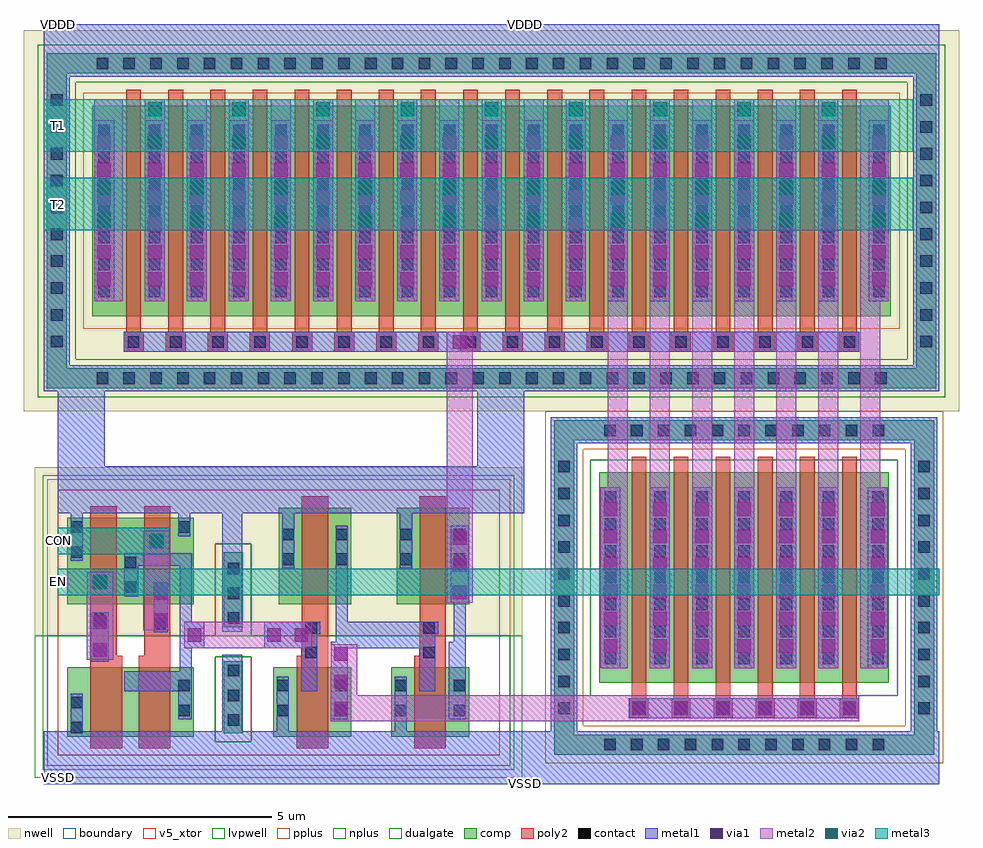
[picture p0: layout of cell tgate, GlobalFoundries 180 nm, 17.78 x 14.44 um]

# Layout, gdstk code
import gdstk
lib = gdstk.Library(unit=1e-6, precision=5e-09)
def R(c, l, rs):  # rectangles x0, y0, x1, y1
    for r in rs: c.add(gdstk.rectangle(r[:2], r[2:], *l))
def A(c, l, x, y, w, h, nx, ny, dx, dy):  # array of equal rectangles
    R(c, l, [(x+i*dx, y+j*dy, x+i*dx+w, y+j*dy+h) for i in range(nx) for j in range(ny)])
def P(c, l, *ps):  # polygons
    for p in ps: c.add(gdstk.Polygon(p, *l))
boundary = (0, 0)
nwell = (21, 0)
comp = (22, 0)
poly2 = (30, 0)
pplus = (31, 0)
nplus = (32, 0)
contact = (33, 0)
metal1 = (34, 0)
via1 = (35, 0)
metal2 = (36, 0)
via2 = (38, 0)
metal3 = (42, 0)
dualgate = (55, 0)
v5_xtor = (112, 1)
lvpwell = (204, 0)

gf180mcu_fd_sc_mcu9t5v0_ = lib.new_cell('gf180mcu_fd_sc_mcu9t5v0__filltie')
R(gf180mcu_fd_sc_mcu9t5v0_, boundary, [(0,0,1.12,5.04)])
R(gf180mcu_fd_sc_mcu9t5v0_, nwell, [(-0.43,2.265,1.55,5.47)])
R(gf180mcu_fd_sc_mcu9t5v0_, comp, [(0.36,0.41,0.72,1.785), (0.36,2.425,0.72,3.855)])
R(gf180mcu_fd_sc_mcu9t5v0_, pplus, [(0.2,0.25,0.88,1.865)])
P(gf180mcu_fd_sc_mcu9t5v0_, pplus, [(-0.2,2.265),(-0.2,5.24),(1.32,5.24),(1.32,2.265),(0.88,2.265),(0.88,4.015),(0.2,4.015),(0.2,2.265)])
P(gf180mcu_fd_sc_mcu9t5v0_, nplus, [(-0.2,-0.2),(-0.2,2.265),(0.2,2.265),(0.2,4.015),(0.88,4.015),(0.88,1.865),(0.2,1.865),(0.2,0.25),(0.88,0.25),(0.88,4.015),(0.88,2.265),(1.32,2.265),(1.32,-0.2)])
A(gf180mcu_fd_sc_mcu9t5v0_, contact, 0.43, 0.555, 0.22, 0.22, 1, 3, 0, 0.47)
A(gf180mcu_fd_sc_mcu9t5v0_, contact, 0.43, 2.495, 0.22, 0.22, 1, 3, 0, 0.47)
P(gf180mcu_fd_sc_mcu9t5v0_, metal1, [(0,-0.45),(0,0.45),(0.33,0.45),(0.33,1.91),(0.71,1.91),(0.71,0.45),(1.12,0.45),(1.12,-0.45)],
  [(0.33,2.34),(0.33,4.59),(0,4.59),(0,5.49),(1.12,5.49),(1.12,4.59),(0.71,4.59),(0.71,2.34)])
R(gf180mcu_fd_sc_mcu9t5v0_, dualgate, [(-0.28,-0.28,1.4,5.32)])
R(gf180mcu_fd_sc_mcu9t5v0_, v5_xtor, [(0,0,1.12,5.04)])
R(gf180mcu_fd_sc_mcu9t5v0_, lvpwell, [(-0.43,-0.43,1.55,2.265)])
gf180mcu_fd_sc_mcu9t5v0_.add(gdstk.Label('VSS', (0.56,-0.45), layer=34, texttype=10))
gf180mcu_fd_sc_mcu9t5v0_.add(gdstk.Label('VDD', (0.56,5.49), layer=34, texttype=10))
gf180mcu_fd_sc_mcu9t5v0_.add(gdstk.Label('& Vendor GLOBALFOUNDRIES', (0,2), layer=63, texttype=63))
gf180mcu_fd_sc_mcu9t5v0_.add(gdstk.Label('& Product GF018hv5v_green_sc9', (0,1.5), layer=63, texttype=63))
gf180mcu_fd_sc_mcu9t5v0_.add(gdstk.Label('& Version 2015q2v2', (0,1), layer=63, texttype=63))
gf180mcu_fd_sc_mcu9t5v0_.add(gdstk.Label('& Metric 1.00', (0,0.5), layer=63, texttype=63))

c_gf180mcu_fd_sc_mcu9t5v0_ = lib.new_cell('gf180mcu_fd_sc_mcu9t5v0__inv_1')
R(c_gf180mcu_fd_sc_mcu9t5v0_, boundary, [(0,0,2.24,5.04)])
R(c_gf180mcu_fd_sc_mcu9t5v0_, nwell, [(-0.43,2.265,2.67,5.47)])
R(c_gf180mcu_fd_sc_mcu9t5v0_, comp, [(0.18,0.345,1.66,1.665), (0.28,2.865,1.66,4.695)])
P(c_gf180mcu_fd_sc_mcu9t5v0_, poly2, [(0.62,0.125),(0.62,1.885),(0.72,1.885),(0.72,4.915),(1.22,4.915),(1.22,0.125)])
R(c_gf180mcu_fd_sc_mcu9t5v0_, pplus, [(-0.2,2.265,2.44,5.24)])
R(c_gf180mcu_fd_sc_mcu9t5v0_, nplus, [(-0.2,-0.2,2.44,2.265)])
R(c_gf180mcu_fd_sc_mcu9t5v0_, contact, [(0.25,0.74,0.47,0.96), (1.37,0.74,1.59,0.96), (0.25,1.21,0.47,1.43), (1.37,1.21,1.59,1.43), (0.79,1.835,1.01,2.055), (0.79,2.305,1.01,2.525), (0.35,3.61,0.57,3.83), (1.37,3.61,1.59,3.83), (0.35,4.08,0.57,4.3), (1.37,4.08,1.59,4.3)])
P(c_gf180mcu_fd_sc_mcu9t5v0_, metal1, [(0.71,1.21),(0.71,2.53),(1.07,2.53),(1.07,2.3),(1.015,2.3),(1.015,1.21)],
  [(1.27,0.68),(1.27,2.15),(1.365,2.15),(1.365,4.36),(1.595,4.36),(1.595,0.68)],
  [(0,-0.45),(0,0.45),(0.245,0.45),(0.245,1.49),(0.475,1.49),(0.475,0.45),(2.24,0.45),(2.24,-0.45)],
  [(0.345,3.55),(0.345,4.59),(0,4.59),(0,5.49),(2.24,5.49),(2.24,4.59),(0.575,4.59),(0.575,3.55)])
R(c_gf180mcu_fd_sc_mcu9t5v0_, dualgate, [(-0.28,-0.28,2.52,5.32)])
R(c_gf180mcu_fd_sc_mcu9t5v0_, v5_xtor, [(0,0,2.24,5.04)])
R(c_gf180mcu_fd_sc_mcu9t5v0_, lvpwell, [(-0.43,-0.43,2.67,2.265)])
c_gf180mcu_fd_sc_mcu9t5v0_.add(gdstk.Label('I', (0.84,1.96), layer=34, texttype=10))
c_gf180mcu_fd_sc_mcu9t5v0_.add(gdstk.Label('VDD', (1.12,5.49), layer=34, texttype=10))
c_gf180mcu_fd_sc_mcu9t5v0_.add(gdstk.Label('VSS', (1.12,-0.45), layer=34, texttype=10))
c_gf180mcu_fd_sc_mcu9t5v0_.add(gdstk.Label('ZN', (1.4,1.96), layer=34, texttype=10))
c_gf180mcu_fd_sc_mcu9t5v0_.add(gdstk.Label('& Vendor GLOBALFOUNDRIES', (0,2), layer=63, texttype=63))
c_gf180mcu_fd_sc_mcu9t5v0_.add(gdstk.Label('& Product GF018hv5v_green_sc9', (0,1.5), layer=63, texttype=63))
c_gf180mcu_fd_sc_mcu9t5v0_.add(gdstk.Label('& Version 2015q2v2', (0,1), layer=63, texttype=63))
c_gf180mcu_fd_sc_mcu9t5v0_.add(gdstk.Label('& Metric 1.00', (0,0.5), layer=63, texttype=63))
c_gf180mcu_fd_sc_mcu9t5v0_.add(gdstk.Label('VNW', (0.345,3.92), layer=21, texttype=10))
c_gf180mcu_fd_sc_mcu9t5v0_.add(gdstk.Label('VPW', (0.34,-0.085), layer=204, texttype=10))

c_gf180mcu_fd_sc_mcu9t5v0__ = lib.new_cell('gf180mcu_fd_sc_mcu9t5v0__nand2_1')
R(c_gf180mcu_fd_sc_mcu9t5v0__, boundary, [(0,0,2.8,5.04)])
R(c_gf180mcu_fd_sc_mcu9t5v0__, nwell, [(-0.43,2.265,3.23,5.47)])
R(c_gf180mcu_fd_sc_mcu9t5v0__, comp, [(0.185,0.345,2.585,1.665), (0.185,2.865,2.585,4.51)])
P(c_gf180mcu_fd_sc_mcu9t5v0__, poly2, [(0.625,0.125),(0.625,4.73),(1.125,4.73),(1.125,1.885),(1.225,1.885),(1.225,0.125)],
  [(1.545,0.125),(1.545,1.885),(1.645,1.885),(1.645,4.73),(2.145,4.73),(2.145,0.125)])
R(c_gf180mcu_fd_sc_mcu9t5v0__, pplus, [(-0.2,2.265,3,5.24)])
R(c_gf180mcu_fd_sc_mcu9t5v0__, nplus, [(-0.2,-0.2,3,2.265)])
R(c_gf180mcu_fd_sc_mcu9t5v0__, contact, [(0.255,0.415,0.475,0.635), (2.295,0.74,2.515,0.96), (0.255,0.885,0.475,1.105), (2.295,1.21,2.515,1.43), (1.835,2.39,2.055,2.61), (0.695,2.475,0.915,2.695), (1.275,3.08,1.495,3.3), (1.275,3.55,1.495,3.77), (0.255,3.75,0.475,3.97), (0.255,4.22,0.475,4.44), (2.295,4.22,2.515,4.44)])
R(c_gf180mcu_fd_sc_mcu9t5v0__, metal1, [(0.635,1.77,0.975,2.71), (1.83,2.33,2.09,3.27)])
P(c_gf180mcu_fd_sc_mcu9t5v0__, metal1, [(2.29,0.68),(2.29,1.21),(1.27,1.21),(1.27,1.59),(2.32,1.59),(2.32,3.6),(1.53,3.6),(1.53,3.02),(1.27,3.02),(1.27,3.83),(2.55,3.83),(2.55,0.68)],
  [(0,-0.45),(0,0.45),(0.25,0.45),(0.25,1.165),(0.48,1.165),(0.48,0.45),(2.8,0.45),(2.8,-0.45)],
  [(0.25,3.69),(0.25,4.59),(0,4.59),(0,5.49),(2.8,5.49),(2.8,4.59),(2.52,4.59),(2.52,4.16),(2.29,4.16),(2.29,4.59),(0.48,4.59),(0.48,3.69)])
R(c_gf180mcu_fd_sc_mcu9t5v0__, dualgate, [(-0.28,-0.28,3.08,5.32)])
R(c_gf180mcu_fd_sc_mcu9t5v0__, v5_xtor, [(0,0,2.8,5.04)])
R(c_gf180mcu_fd_sc_mcu9t5v0__, lvpwell, [(-0.43,-0.43,3.23,2.265)])
c_gf180mcu_fd_sc_mcu9t5v0__.add(gdstk.Label('A1', (1.96,2.52), layer=34, texttype=10))
c_gf180mcu_fd_sc_mcu9t5v0__.add(gdstk.Label('A2', (0.84,1.96), layer=34, texttype=10))
c_gf180mcu_fd_sc_mcu9t5v0__.add(gdstk.Label('VDD', (1.4,5.49), layer=34, texttype=10))
c_gf180mcu_fd_sc_mcu9t5v0__.add(gdstk.Label('VSS', (1.4,-0.45), layer=34, texttype=10))
c_gf180mcu_fd_sc_mcu9t5v0__.add(gdstk.Label('ZN', (1.96,1.4), layer=34, texttype=10))
c_gf180mcu_fd_sc_mcu9t5v0__.add(gdstk.Label('& Vendor GLOBALFOUNDRIES', (0,2), layer=63, texttype=63))
c_gf180mcu_fd_sc_mcu9t5v0__.add(gdstk.Label('& Product GF018hv5v_green_sc9', (0,1.5), layer=63, texttype=63))
c_gf180mcu_fd_sc_mcu9t5v0__.add(gdstk.Label('& Version 2015q2v2', (0,1), layer=63, texttype=63))
c_gf180mcu_fd_sc_mcu9t5v0__.add(gdstk.Label('& Metric 1.00', (0,0.5), layer=63, texttype=63))
c_gf180mcu_fd_sc_mcu9t5v0__.add(gdstk.Label('VNW', (0.345,3.92), layer=21, texttype=10))
c_gf180mcu_fd_sc_mcu9t5v0__.add(gdstk.Label('VPW', (0.34,-0.085), layer=204, texttype=10))

nfet = lib.new_cell('nfet')
R(nfet, comp, [(-0.42,0,0,4), (0,0,4.66,4), (4.66,0,5.08,4)])
P(nfet, comp, [(-1.28,-1.36),(-1.28,4.61),(-0.9,4.61),(-0.9,-0.98),(5.56,-0.98),(5.56,4.61),(-1.28,4.61),(-1.28,4.99),(5.94,4.99),(5.94,-1.36)])
A(nfet, poly2, 0.15, -0.66, 0.36, 0.36, 6, 1, 0.8, 0)
A(nfet, poly2, 0.19, -0.3, 0.28, 4.6, 6, 1, 0.8, 0)
P(nfet, pplus, [(-1.45,-1.53),(-1.45,4.44),(-0.73,4.44),(-0.73,-0.81),(5.39,-0.81),(5.39,4.44),(-1.45,4.44),(-1.45,5.16),(6.11,5.16),(6.11,-1.53)])
R(nfet, nplus, [(-0.59,-0.24,5.25,4.24)])
A(nfet, contact, -0.33, -1.28, 0.22, 0.22, 11, 2, 0.51, 5.97)
A(nfet, contact, -1.2, -0.59, 0.22, 0.22, 1, 10, 0, 0.51)
A(nfet, contact, 0.22, -0.59, 0.22, 0.22, 6, 1, 0.8, 0)
A(nfet, contact, 5.64, -0.59, 0.22, 0.22, 1, 10, 0, 0.51)
A(nfet, contact, -0.32, 0.36, 0.22, 0.22, 1, 7, 0, 0.51)
A(nfet, contact, 0.62, 0.36, 0.22, 0.22, 5, 7, 0.8, 0.51)
A(nfet, contact, 4.76, 0.36, 0.22, 0.22, 1, 7, 0, 0.51)
A(nfet, metal1, 0.14, -0.67, 0.38, 0.38, 6, 1, 0.8, 0)
A(nfet, metal1, 0.54, 0.28, 0.38, 3.44, 5, 1, 0.8, 0)
R(nfet, metal1, [(-0.4,0.28,-0.02,3.72), (4.68,0.28,5.06,3.72)])
nfet.add(gdstk.FlexPath([(0.14,-0.48),(4.52,-0.48)], 0.38, ends="flush", simple_path=True, layer=34, datatype=0))  # metal1
nfet.add(gdstk.FlexPath([(-1.34,4.8),(5.75,4.8),(5.75,-1.17),(-1.09,-1.17),(-1.09,4.55)], 0.5, ends="flush", simple_path=True, layer=34, datatype=0))  # metal1
nfet.add(gdstk.Label('G', (0.22,-0.59), layer=34, texttype=10))
nfet.add(gdstk.Label('B', (-1.09,-1.17), layer=34, texttype=10))
nfet.add(gdstk.Label('D', (0.62,0.36), layer=34, texttype=10))
nfet.add(gdstk.Label('S', (-0.32,0.36), layer=34, texttype=10))
nfet.add(gdstk.Label('S', (1.42,0.36), layer=34, texttype=10))
nfet.add(gdstk.Label('S', (4.76,0.36), layer=34, texttype=10))
nfet.add(gdstk.Label('S', (3.02,0.36), layer=34, texttype=10))
nfet.add(gdstk.Label('D', (2.22,0.36), layer=34, texttype=10))
nfet.add(gdstk.Label('D', (3.82,0.36), layer=34, texttype=10))

pfet = lib.new_cell('pfet')
R(pfet, nwell, [(-1.76,-1.81,16.02,5.43)])
R(pfet, comp, [(-0.46,0,0,4), (0,0,14.26,4), (14.26,0,14.72,4)])
P(pfet, comp, [(-1.32,-1.37),(-1.32,4.61),(-0.94,4.61),(-0.94,-0.99),(15.2,-0.99),(15.2,4.61),(-1.32,4.61),(-1.32,4.99),(15.58,4.99),(15.58,-1.37)])
A(pfet, poly2, 0.14, -0.68, 0.38, 0.38, 18, 1, 0.8, 0)
A(pfet, poly2, 0.19, -0.3, 0.28, 4.6, 18, 1, 0.8, 0)
R(pfet, pplus, [(-0.63,-0.24,14.89,4.24)])
A(pfet, contact, -0.375, -1.29, 0.22, 0.22, 30, 2, 0.51, 5.98)
A(pfet, contact, 0.22, -0.6, 0.22, 0.22, 18, 1, 0.8, 0)
A(pfet, contact, -1.24, -0.595, 0.22, 0.22, 1, 10, 0, 0.51)
A(pfet, contact, 15.28, -0.595, 0.22, 0.22, 1, 10, 0, 0.51)
A(pfet, contact, -0.34, 0.36, 0.22, 0.22, 1, 7, 0, 0.51)
A(pfet, contact, 0.62, 0.36, 0.22, 0.22, 17, 7, 0.8, 0.51)
A(pfet, contact, 14.38, 0.36, 0.22, 0.22, 1, 7, 0, 0.51)
A(pfet, metal1, 0.14, -0.68, 0.38, 0.38, 18, 1, 0.8, 0)
A(pfet, metal1, 0.54, 0.28, 0.38, 3.44, 17, 1, 0.8, 0)
R(pfet, metal1, [(-0.42,0.28,-0.04,3.72), (14.3,0.28,14.68,3.72)])
pfet.add(gdstk.FlexPath([(0.14,-0.49),(14.12,-0.49)], 0.38, ends="flush", simple_path=True, layer=34, datatype=0))  # metal1
pfet.add(gdstk.FlexPath([(-1.38,4.8),(15.39,4.8),(15.39,-1.18),(-1.13,-1.18),(-1.13,4.55)], 0.5, ends="flush", simple_path=True, layer=34, datatype=0))  # metal1
pfet.add(gdstk.FlexPath([(-1.49,4.8),(15.39,4.8),(15.39,-1.18),(-1.13,-1.18),(-1.13,4.44)], 0.72, ends="flush", simple_path=True, layer=32, datatype=0))  # nplus
pfet.add(gdstk.Label('G', (0.22,-0.6), layer=34, texttype=10))
pfet.add(gdstk.Label('S', (-0.34,0.36), layer=34, texttype=10))
pfet.add(gdstk.Label('S', (14.38,0.36), layer=34, texttype=10))
pfet.add(gdstk.Label('S', (12.62,0.36), layer=34, texttype=10))
pfet.add(gdstk.Label('S', (11.02,0.36), layer=34, texttype=10))
pfet.add(gdstk.Label('S', (9.42,0.36), layer=34, texttype=10))
pfet.add(gdstk.Label('S', (7.82,0.365), layer=34, texttype=10))
pfet.add(gdstk.Label('S', (6.22,0.365), layer=34, texttype=10))
pfet.add(gdstk.Label('S', (4.62,0.36), layer=34, texttype=10))
pfet.add(gdstk.Label('S', (3.02,0.36), layer=34, texttype=10))
pfet.add(gdstk.Label('S', (1.42,0.365), layer=34, texttype=10))
pfet.add(gdstk.Label('D', (10.22,0.355), layer=34, texttype=10))
pfet.add(gdstk.Label('D', (8.62,0.355), layer=34, texttype=10))
pfet.add(gdstk.Label('D', (7.02,0.36), layer=34, texttype=10))
pfet.add(gdstk.Label('D', (5.42,0.36), layer=34, texttype=10))
pfet.add(gdstk.Label('D', (3.82,0.355), layer=34, texttype=10))
pfet.add(gdstk.Label('D', (2.22,0.355), layer=34, texttype=10))
pfet.add(gdstk.Label('D', (0.62,0.36), layer=34, texttype=10))
pfet.add(gdstk.Label('D', (11.82,0.355), layer=34, texttype=10))
pfet.add(gdstk.Label('D', (13.42,0.36), layer=34, texttype=10))
pfet.add(gdstk.Label('B', (-1.13,-1.18), layer=34, texttype=10))

tgate = lib.new_cell('tgate')
A(tgate, via1, -0.6, -5.29, 0.26, 0.26, 1, 3, 0, 0.52)
A(tgate, via1, 5.06, -5.28, 0.26, 0.26, 6, 1, 0.8, 0)
A(tgate, via1, 4.52, -4.1, 0.26, 0.26, 1, 6, 0, 0.52)
A(tgate, via1, 5.46, -4.1, 0.26, 0.26, 5, 6, 0.8, 0.52)
A(tgate, via1, 9.6, -4.1, 0.26, 0.26, 1, 6, 0, 0.52)
A(tgate, via1, 1.655, -3.08, 0.26, 0.26, 1, 3, 0, 0.52)
A(tgate, via1, -5.1, 2.87, 0.26, 0.26, 1, 6, 0, 0.52)
A(tgate, via1, -4.14, 2.87, 0.26, 0.26, 17, 6, 0.8, 0.52)
A(tgate, via1, 9.62, 2.87, 0.26, 0.26, 1, 6, 0, 0.52)
R(tgate, via1, [(-5.18,-4.17,-4.92,-3.91), (-3.385,-3.89,-3.125,-3.63), (-1.87,-3.89,-1.61,-3.63), (-1.35,-3.89,-1.09,-3.63), (-5.18,-3.65,-4.92,-3.39), (-4.025,-3.61,-3.765,-3.35), (-4.025,-3.09,-3.765,-2.83), (1.655,1.68,1.915,1.94)])
A(tgate, via2, -3.34, 3.99, 0.26, 0.26, 8, 2, 1.6, 0.62)
R(tgate, via2, [(-5.18,-2.88,-4.92,-2.62), (-4.105,-2.1,-3.845,-1.84), (-5.1,3.99,-4.84,4.25), (9.62,3.99,9.88,4.25), (-5.1,4.61,-4.84,4.87), (9.62,4.61,9.88,4.87), (-4.135,5.48,-3.875,5.74), (-2.54,5.48,-2.28,5.74), (-0.94,5.48,-0.68,5.74), (0.665,5.48,0.925,5.74), (2.26,5.48,2.52,5.74), (3.86,5.48,4.12,5.74), (5.465,5.48,5.725,5.74), (7.06,5.48,7.32,5.74), (8.66,5.48,8.92,5.74), (-4.135,6.1,-3.875,6.36), (-2.54,6.1,-2.28,6.36), (-0.94,6.1,-0.68,6.36), (0.665,6.1,0.925,6.36), (2.26,6.1,2.52,6.36), (3.86,6.1,4.12,6.36), (5.465,6.1,5.725,6.36), (7.06,6.1,7.32,6.36), (8.66,6.1,8.92,6.36)])
tgate.add(gdstk.FlexPath([(1.785,-3.15),(1.785,-1.68)], 0.34, ends="flush", simple_path=True, layer=34, datatype=0))  # metal1
tgate.add(gdstk.FlexPath([(-6.12,7.1),(10.65,7.1),(10.65,1.12),(-5.87,1.12),(-5.87,6.85)], 0.5, ends="flush", simple_path=True, layer=34, datatype=0))  # metal1
tgate.add(gdstk.FlexPath([(3.52,0.13),(10.61,0.13),(10.61,-5.84),(3.77,-5.84),(3.77,-0.12)], 0.5, ends="flush", simple_path=True, layer=34, datatype=0))  # metal1
tgate.add(gdstk.FlexPath([(-4.6,1.81),(9.38,1.81)], 0.38, ends="flush", simple_path=True, layer=34, datatype=0))  # metal1
tgate.add(gdstk.FlexPath([(3.015,-6.09),(-6.12,-6.09)], 1, ends="flush", simple_path=True, layer=34, datatype=0))  # metal1
tgate.add(gdstk.FlexPath([(2.565,0.87),(2.565,-0.55)], 0.9, ends="flush", simple_path=True, layer=34, datatype=0))  # metal1
tgate.add(gdstk.FlexPath([(-5.405,0.87),(-5.405,-0.55)], 0.9, ends="flush", simple_path=True, layer=34, datatype=0))  # metal1
tgate.add(gdstk.FlexPath([(10.9,7.35),(-6.12,7.35)], 1, ends="flush", simple_path=True, layer=34, datatype=0))  # metal1
tgate.add(gdstk.FlexPath([(10.9,-6.09),(3.015,-6.09)], 1, ends="flush", simple_path=True, layer=34, datatype=0))  # metal1
tgate.add(gdstk.FlexPath([(3.015,-1),(-5.855,-1)], 0.9, ends="flush", simple_path=True, layer=34, datatype=0))  # metal1
tgate.add(gdstk.FlexPath([(-3.305,-3.76),(-3.065,-3.76)], 0.5, ends="flush", simple_path=True, layer=34, datatype=0))  # metal1
tgate.add(gdstk.FlexPath([(-0.34,-3.76),(1.015,-3.76)], 0.5, ends="flush", simple_path=True, layer=34, datatype=0))  # metal1
tgate.add(gdstk.FlexPath([(-1.93,-3.76),(-1.225,-3.76)], 0.5, ends="flush", simple_path=True, layer=34, datatype=0))  # metal1
tgate.add(gdstk.FlexPath([(5,-5.15),(9.38,-5.15)], 0.38, ends="flush", simple_path=True, layer=34, datatype=0))  # metal1
tgate.add(gdstk.FlexPath([(-6.23,7.1),(10.65,7.1),(10.65,1.12),(-5.87,1.12),(-5.87,6.74)], 0.72, ends="flush", simple_path=True, layer=32, datatype=0))  # nplus
tgate.add(gdstk.FlexPath([(-0.41,-4.9),(-0.41,-3.93)], 0.5, ends="flush", simple_path=True, layer=36, datatype=0))  # metal2
tgate.add(gdstk.FlexPath([(9.38,-5.15),(-0.66,-5.15)], 0.5, ends="flush", simple_path=True, layer=36, datatype=0))  # metal2
tgate.add(gdstk.FlexPath([(1.785,-3.15),(1.785,2)], 0.5, ends="flush", simple_path=True, layer=36, datatype=0))  # metal2
tgate.add(gdstk.FlexPath([(7.99,-4.39),(7.99,6.42)], 0.38, ends="flush", simple_path=True, layer=36, datatype=0))  # metal2
tgate.add(gdstk.FlexPath([(7.19,-4.39),(7.19,6.42)], 0.38, ends="flush", simple_path=True, layer=36, datatype=0))  # metal2
tgate.add(gdstk.FlexPath([(4.53,-4.39),(4.53,-0.95)], 0.14, ends="flush", simple_path=True, layer=36, datatype=0))  # metal2
tgate.add(gdstk.FlexPath([(6.39,-4.39),(6.39,6.42)], 0.38, ends="flush", simple_path=True, layer=36, datatype=0))  # metal2
tgate.add(gdstk.FlexPath([(5.59,-4.39),(5.59,6.42)], 0.38, ends="flush", simple_path=True, layer=36, datatype=0))  # metal2
tgate.add(gdstk.FlexPath([(9.59,-4.39),(9.59,6.42)], 0.38, ends="flush", simple_path=True, layer=36, datatype=0))  # metal2
tgate.add(gdstk.FlexPath([(8.79,-4.39),(8.79,6.42)], 0.38, ends="flush", simple_path=True, layer=36, datatype=0))  # metal2
tgate.add(gdstk.FlexPath([(9.85,-4.39),(9.85,-0.95)], 0.14, ends="flush", simple_path=True, layer=36, datatype=0))  # metal2
tgate.add(gdstk.FlexPath([(9.86,2.58),(9.86,6.42)], 0.16, ends="flush", simple_path=True, layer=36, datatype=0))  # metal2
tgate.add(gdstk.FlexPath([(4.79,-4.39),(4.79,6.42)], 0.38, ends="flush", simple_path=True, layer=36, datatype=0))  # metal2
tgate.add(gdstk.FlexPath([(3.99,2.58),(3.99,6.42)], 0.38, ends="flush", simple_path=True, layer=36, datatype=0))  # metal2
tgate.add(gdstk.FlexPath([(3.19,2.58),(3.19,6.42)], 0.38, ends="flush", simple_path=True, layer=36, datatype=0))  # metal2
tgate.add(gdstk.FlexPath([(2.39,2.58),(2.39,6.42)], 0.38, ends="flush", simple_path=True, layer=36, datatype=0))  # metal2
tgate.add(gdstk.FlexPath([(1.59,2.58),(1.59,6.42)], 0.38, ends="flush", simple_path=True, layer=36, datatype=0))  # metal2
tgate.add(gdstk.FlexPath([(0.79,2.58),(0.79,6.42)], 0.38, ends="flush", simple_path=True, layer=36, datatype=0))  # metal2
tgate.add(gdstk.FlexPath([(-0.01,2.58),(-0.01,6.42)], 0.38, ends="flush", simple_path=True, layer=36, datatype=0))  # metal2
tgate.add(gdstk.FlexPath([(-0.81,2.58),(-0.81,6.42)], 0.38, ends="flush", simple_path=True, layer=36, datatype=0))  # metal2
tgate.add(gdstk.FlexPath([(-1.61,2.58),(-1.61,6.42)], 0.38, ends="flush", simple_path=True, layer=36, datatype=0))  # metal2
tgate.add(gdstk.FlexPath([(-2.41,2.58),(-2.41,6.42)], 0.38, ends="flush", simple_path=True, layer=36, datatype=0))  # metal2
tgate.add(gdstk.FlexPath([(-3.21,2.58),(-3.21,6.42)], 0.38, ends="flush", simple_path=True, layer=36, datatype=0))  # metal2
tgate.add(gdstk.FlexPath([(-4.01,2.58),(-4.01,6.42)], 0.38, ends="flush", simple_path=True, layer=36, datatype=0))  # metal2
tgate.add(gdstk.FlexPath([(-4.81,2.58),(-4.81,6.42)], 0.38, ends="flush", simple_path=True, layer=36, datatype=0))  # metal2
tgate.add(gdstk.FlexPath([(-5.08,2.58),(-5.08,6.42)], 0.16, ends="flush", simple_path=True, layer=36, datatype=0))  # metal2
tgate.add(gdstk.FlexPath([(-5.05,-4.23),(-5.05,-2.56)], 0.5, ends="flush", simple_path=True, layer=36, datatype=0))  # metal2
tgate.add(gdstk.FlexPath([(-3.975,-3.67),(-3.975,-1.78)], 0.5, ends="flush", simple_path=True, layer=36, datatype=0))  # metal2
tgate.add(gdstk.FlexPath([(-1.03,-3.76),(-3.445,-3.76)], 0.5, ends="flush", simple_path=True, layer=36, datatype=0))  # metal2
tgate.add(gdstk.FlexPath([(-3.725,-1.97),(-5.855,-1.97)], 0.5, ends="flush", simple_path=True, layer=42, datatype=0))  # metal3
tgate.add(gdstk.FlexPath([(10.9,-2.75),(-5.855,-2.75)], 0.5, ends="flush", simple_path=True, layer=42, datatype=0))  # metal3
tgate.add(gdstk.FlexPath([(10.4,4.43),(-6.12,4.43)], 1, ends="flush", simple_path=True, layer=42, datatype=0))  # metal3
tgate.add(gdstk.FlexPath([(10.4,5.92),(-6.12,5.92)], 1, ends="flush", simple_path=True, layer=42, datatype=0))  # metal3
tgate.add(gdstk.Reference(gf180mcu_fd_sc_mcu9t5v0_, (-3.055,-6.04)))
tgate.add(gdstk.Reference(c_gf180mcu_fd_sc_mcu9t5v0_, (0.305,-6.04)))
tgate.add(gdstk.Reference(c_gf180mcu_fd_sc_mcu9t5v0_, (-1.935,-6.04)))
tgate.add(gdstk.Reference(c_gf180mcu_fd_sc_mcu9t5v0__, (-5.855,-6.04)))
tgate.add(gdstk.Reference(nfet, (4.86,-4.67)))
tgate.add(gdstk.Reference(pfet, (-4.74,2.3)))
tgate.add(gdstk.Label('VDDD', (-5.84,7.835), layer=34, texttype=10))
tgate.add(gdstk.Label('VDDD', (3.04,7.835), layer=34, texttype=10))
tgate.add(gdstk.Label('VSSD', (-5.84,-6.475), layer=34, texttype=10))
tgate.add(gdstk.Label('VSSD', (3.03,-6.575), layer=34, texttype=10))
tgate.add(gdstk.Label('T1', (-5.84,5.92), layer=42, texttype=10))
tgate.add(gdstk.Label('T2', (-5.84,4.43), layer=42, texttype=10))
tgate.add(gdstk.Label('CON', (-5.84,-1.97), layer=42, texttype=10))
tgate.add(gdstk.Label('EN', (-5.84,-2.75), layer=42, texttype=10))

lib.write_gds('tgate.gds')
